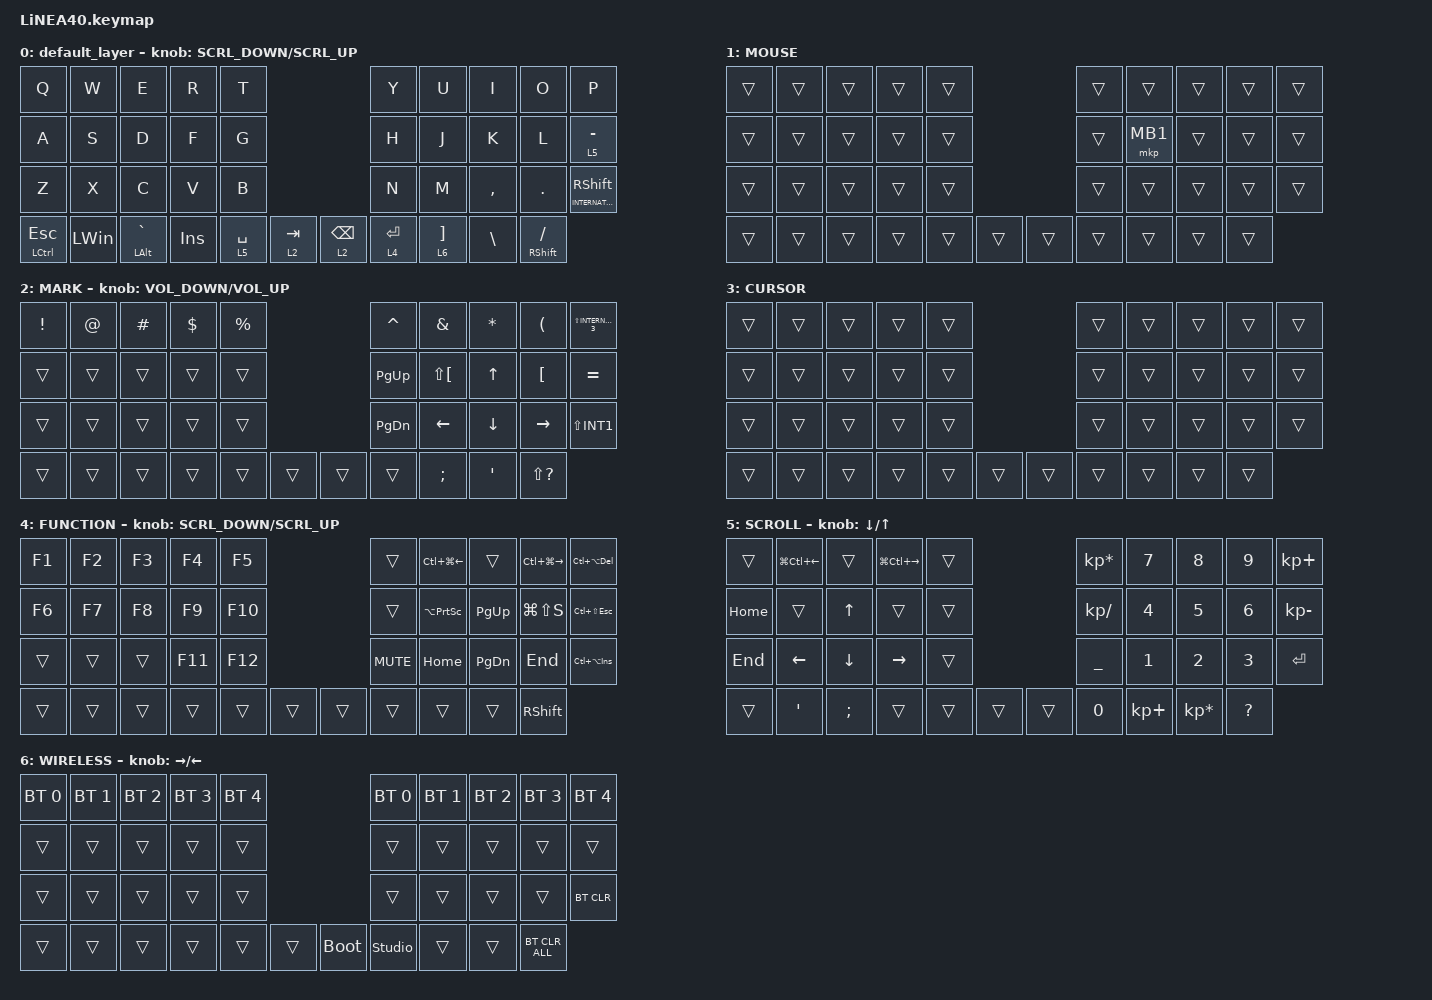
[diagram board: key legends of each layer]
#define ZMK_POINTING_DEFAULT_SCRL_VAL 150

#include <dt-bindings/zmk/input_transform.h>
#include <input/processors.dtsi>
#include <zephyr/dt-bindings/input/input-event-codes.h>
#include <behaviors.dtsi>
#include <dt-bindings/zmk/bt.h>
#include <dt-bindings/zmk/keys.h>
#include <dt-bindings/zmk/pointing.h>

#define MOUSE 1
#define MARK 2
#define CURSOR 3
#define FUNCTION 4
#define SCROLL 5
#define WIRELESS 6

//mouse cursol

&mmv {
    delay-ms = <20>;
    trigger-period-ms = <5>;
    time-to-max-speed-ms = <100>;
    acceleration-exponent = <2>;
};

//mouse scroll

&msc {
    delay-ms = <3>;
    trigger-period-ms = <3>;
    time-to-max-speed-ms = <100>;
    acceleration-exponent = <0>;
};

/ {
    input_processors {
        zip_wheel_scaler: zip_wheel_scaler {
            compatible = "zmk,input-processor-scaler";
            #input-processor-cells = <2>;
            type = <INPUT_EV_REL>;
            codes = <INPUT_REL_WHEEL>;
            track-remainders;
        };
    };
};

&msc_input_listener {
    speed_up {
        layers = <FUNCTION>;
        input-processors = <&zip_wheel_scaler 3 1>; //スクロールを3倍速にする
    };
};

&trackball_listener {
    scroller {
        layers = <SCROLL>;
        input-processors =
            <&zip_xy_transform INPUT_TRANSFORM_Y_INVERT>,
            //スクロール方向を逆転,,,,,,
            <&zip_xy_to_scroll_mapper>;
    };
};

/ {
    combos {
        compatible = "zmk,combos";

        ZenkakuHankaku {
            bindings = <&kp GRAVE>;
            key-positions = <11 12>;
        };

        DeleteKey {
            bindings = <&kp DEL>;
            key-positions = <7 8>;
        };

        InsertKey {
            bindings = <&kp INS>;
            key-positions = <6 7>;
        };

        Jkey {
            bindings = <&kp J>;
            key-positions = <17 16>;
        };

        RightClick {
            bindings = <&mkp MB2>;
            key-positions = <18 17>;
        };

        PrevClick {
            bindings = <&mkp MB4>;
            key-positions = <27 28>;
        };

        ClickNext {
            bindings = <&mkp MB5>;
            key-positions = <26 27>;
        };

        MB3Cmb {
            bindings = <&mkp MB3>;
            key-positions = <19 18>;
        };

        ESCcmb {
            bindings = <&kp ESCAPE>;
            key-positions = <1 0>;
        };
    };

    behaviors {
        re_kp: sensor_rotate_kp {
            compatible = "zmk,behavior-sensor-rotate-var";
            #sensor-binding-cells = <2>;
            bindings = <&kp>, <&kp>;
        };

        mouse_scrl: mouse_wheel_scrl {
            compatible = "zmk,behavior-sensor-rotate-var";
            #sensor-binding-cells = <2>;
            bindings = <&msc>, <&msc>;

            tap-ms = <20>;
        };
    };

    keymap {
        compatible = "zmk,keymap";

        default_layer {
            bindings = <
&kp Q          &kp W         &kp E               &kp R    &kp T                                      &kp Y        &kp U  &kp I                &kp O          &kp P
&kp A          &kp S         &kp D               &kp F    &kp G                                      &kp H        &kp J  &kp K                &kp L          &lt 5 MINUS
&kp Z          &kp X         &kp C               &kp V    &kp B                                      &kp N        &kp M  &kp COMMA            &kp DOT        &mt INTERNATIONAL_3 RIGHT_SHIFT
&mt LCTRL ESC  &kp LEFT_WIN  &mt LEFT_ALT GRAVE  &kp INS  &lt 5 SPACE  &lt 2 TAB    &lt 2 BACKSPACE  &lt 4 ENTER         &lt 6 RIGHT_BRACKET  &kp BACKSLASH  &mt RIGHT_SHIFT SLASH
            >;

            sensor-bindings = <&mouse_scrl SCRL_DOWN SCRL_UP>;
        };

        //1

        MOUSE {
            bindings = <
&trans  &trans  &trans  &trans  &trans                    &trans  &trans    &trans  &trans  &trans
&trans  &trans  &trans  &trans  &trans                    &trans  &mkp MB1  &trans  &trans  &trans
&trans  &trans  &trans  &trans  &trans                    &trans  &trans    &trans  &trans  &trans
&trans  &trans  &trans  &trans  &trans  &trans    &trans  &trans            &trans  &trans  &trans
            >;
        };

        //2

        MARK {
            bindings = <
&kp EXCLAMATION  &kp AT  &kp HASH  &kp DOLLAR  &kp PERCENT                    &kp CARET      &kp AMPERSAND  &kp ASTERISK   &kp LEFT_PARENTHESIS  &kp LS(INTERNATIONAL_3)
&trans           &trans  &trans    &trans      &trans                         &kp PG_UP      &kp LS(LBKT)   &kp UP_ARROW   &kp LEFT_BRACKET      &kp EQUAL
&trans           &trans  &trans    &trans      &trans                         &kp PAGE_DOWN  &kp LEFT       &kp DOWN       &kp RIGHT             &kp LS(INT1)
&trans           &trans  &trans    &trans      &trans       &trans    &trans  &trans                        &kp SEMICOLON  &kp SQT               &kp LS(QUESTION)
            >;

            sensor-bindings = <&re_kp C_VOLUME_DOWN C_VOLUME_UP>;
        };

        //3

        CURSOR {
            bindings = <
&trans  &trans  &trans  &trans  &trans                    &trans  &trans  &trans  &trans  &trans
&trans  &trans  &trans  &trans  &trans                    &trans  &trans  &trans  &trans  &trans
&trans  &trans  &trans  &trans  &trans                    &trans  &trans  &trans  &trans  &trans
&trans  &trans  &trans  &trans  &trans  &trans    &trans  &trans          &trans  &trans  &trans
            >;
        };

        //4

        FUNCTION {
            bindings = <
&kp F1  &kp F2  &kp F3  &kp F4   &kp F5                     &trans      &kp LC(LG(LEFT))     &trans         &kp LC(LG(RIGHT))  &kp LC(LA(DELETE))
&kp F6  &kp F7  &kp F8  &kp F9   &kp F10                    &trans      &kp LA(PRINTSCREEN)  &kp PG_UP      &kp LG(LS(S))      &kp LC(LS(ESCAPE))
&trans  &trans  &trans  &kp F11  &kp F12                    &kp C_MUTE  &kp HOME             &kp PAGE_DOWN  &kp END            &kp LC(LA(INS))
&trans  &trans  &trans  &trans   &trans   &trans    &trans  &trans                           &trans         &trans             &kp RIGHT_SHIFT
            >;

            sensor-bindings = <&mouse_scrl SCRL_DOWN SCRL_UP>;
        };

        //5

        SCROLL {
            bindings = <
&trans    &kp LG(LC(LEFT))  &trans         &kp LG(LC(RIGHT))  &trans                    &kp KP_MULTIPLY  &kp NUMBER_7  &kp NUMBER_8  &kp NUMBER_9     &kp KP_PLUS
&kp HOME  &trans            &kp UP_ARROW   &trans             &trans                    &kp KP_SLASH     &kp NUMBER_4  &kp NUMBER_5  &kp NUMBER_6     &kp KP_MINUS
&kp END   &kp LEFT          &kp DOWN       &kp RIGHT          &trans                    &kp UNDER        &kp NUMBER_1  &kp NUMBER_2  &kp NUMBER_3     &kp ENTER
&trans    &kp SQT           &kp SEMICOLON  &trans             &trans  &trans    &trans  &kp NUMBER_0                   &kp KP_PLUS   &kp KP_ASTERISK  &kp QUESTION
            >;

            sensor-bindings = <&inc_dec_kp DOWN_ARROW UP_ARROW>;
        };

        //6

        WIRELESS {
            bindings = <
&bt BT_SEL 0  &bt BT_SEL 1  &bt BT_SEL 2  &bt BT_SEL 3  &bt BT_SEL 4                         &bt BT_SEL 0    &bt BT_SEL 1  &bt BT_SEL 2  &bt BT_SEL 3  &bt BT_SEL 4
&trans        &trans        &trans        &trans        &trans                               &trans          &trans        &trans        &trans        &trans
&trans        &trans        &trans        &trans        &trans                               &trans          &trans        &trans        &trans        &bt BT_CLR
&trans        &trans        &trans        &trans        &trans        &trans    &bootloader  &studio_unlock                &trans        &trans        &bt BT_CLR_ALL
            >;

            sensor-bindings = <&inc_dec_kp RIGHT_ARROW LEFT_ARROW>;
        };
    };
};
